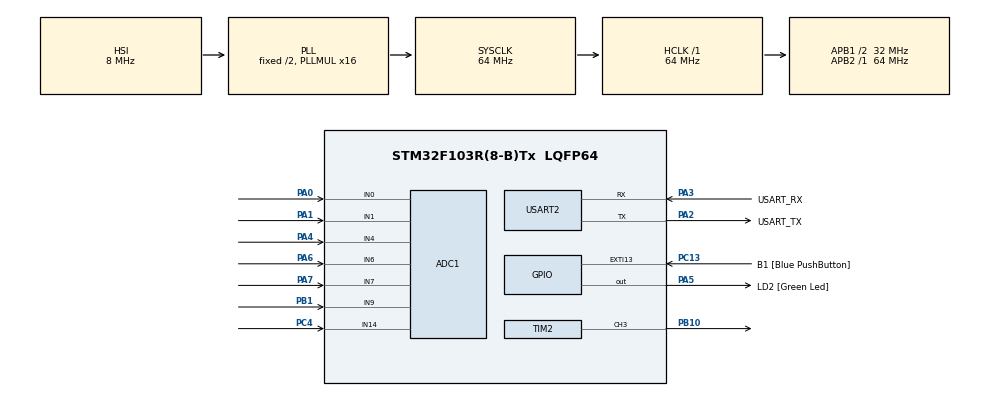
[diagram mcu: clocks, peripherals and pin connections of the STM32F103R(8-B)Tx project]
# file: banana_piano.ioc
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ADC1.Channel-10\#ChannelRegularConversion=ADC_CHANNEL_7
ADC1.Channel-11\#ChannelRegularConversion=ADC_CHANNEL_9
ADC1.Channel-12\#ChannelRegularConversion=ADC_CHANNEL_14
ADC1.Channel-6\#ChannelRegularConversion=ADC_CHANNEL_0
ADC1.Channel-7\#ChannelRegularConversion=ADC_CHANNEL_1
ADC1.Channel-8\#ChannelRegularConversion=ADC_CHANNEL_4
ADC1.Channel-9\#ChannelRegularConversion=ADC_CHANNEL_6
ADC1.ContinuousConvMode=ENABLE
ADC1.NbrOfConversion=7
ADC1.NbrOfConversionFlag=1
ADC1.Rank-10\#ChannelRegularConversion=5
ADC1.Rank-11\#ChannelRegularConversion=6
ADC1.Rank-12\#ChannelRegularConversion=7
ADC1.Rank-6\#ChannelRegularConversion=1
ADC1.Rank-7\#ChannelRegularConversion=2
ADC1.Rank-8\#ChannelRegularConversion=3
ADC1.Rank-9\#ChannelRegularConversion=4
ADC1.SamplingTime-10\#ChannelRegularConversion=ADC_SAMPLETIME_1CYCLE_5
ADC1.SamplingTime-11\#ChannelRegularConversion=ADC_SAMPLETIME_1CYCLE_5
ADC1.SamplingTime-12\#ChannelRegularConversion=ADC_SAMPLETIME_1CYCLE_5
ADC1.SamplingTime-6\#ChannelRegularConversion=ADC_SAMPLETIME_1CYCLE_5
ADC1.SamplingTime-7\#ChannelRegularConversion=ADC_SAMPLETIME_1CYCLE_5
ADC1.SamplingTime-8\#ChannelRegularConversion=ADC_SAMPLETIME_1CYCLE_5
ADC1.SamplingTime-9\#ChannelRegularConversion=ADC_SAMPLETIME_1CYCLE_5
ADC1.master=1
Dma.ADC1.0.Direction=DMA_PERIPH_TO_MEMORY
Dma.ADC1.0.Instance=DMA1_Channel1
Dma.ADC1.0.MemDataAlignment=DMA_MDATAALIGN_HALFWORD
Dma.ADC1.0.MemInc=DMA_MINC_ENABLE
Dma.ADC1.0.Mode=DMA_CIRCULAR
Dma.ADC1.0.PeriphDataAlignment=DMA_PDATAALIGN_HALFWORD
Dma.ADC1.0.PeriphInc=DMA_PINC_DISABLE
Dma.ADC1.0.Priority=DMA_PRIORITY_LOW
Dma.Request0=ADC1
Mcu.Family=STM32F1
Mcu.Name=STM32F103R(8-B)Tx
Mcu.Package=LQFP64
NVIC.DMA1_Channel1_IRQn=true\:0\:0\:false\:false\:true\:false\:true\:true
NVIC.EXTI15_10_IRQn=true\:0\:0\:false\:false\:true\:true\:true\:true
NVIC.PriorityGroup=NVIC_PRIORITYGROUP_4
PA0-WKUP.Signal=ADCx_IN0
PA1.Signal=ADCx_IN1
PA13.GPIO_Label=TMS
PA13.Mode=Serial_Wire
PA13.Signal=SYS_JTMS-SWDIO
PA14.GPIO_Label=TCK
PA14.Mode=Serial_Wire
PA14.Signal=SYS_JTCK-SWCLK
PA2.GPIO_Label=USART_TX
PA2.GPIO_Mode=GPIO_MODE_AF_PP
PA2.GPIO_PuPd=GPIO_NOPULL
PA2.GPIO_Speed=GPIO_SPEED_FREQ_LOW
PA2.Mode=Asynchronous
PA2.Signal=USART2_TX
PA3.GPIO_Label=USART_RX
PA3.GPIO_Mode=GPIO_MODE_AF_PP
PA3.GPIO_PuPd=GPIO_NOPULL
PA3.GPIO_Speed=GPIO_SPEED_FREQ_LOW
PA3.Mode=Asynchronous
PA3.Signal=USART2_RX
PA4.Signal=ADCx_IN4
PA5.GPIO_Label=LD2 [Green Led]
PA5.GPIO_ModeDefaultOutputPP=GPIO_MODE_OUTPUT_PP
PA5.GPIO_PuPd=GPIO_NOPULL
PA5.GPIO_Speed=GPIO_SPEED_FREQ_LOW
PA5.Signal=GPIO_Output
PA6.Signal=ADCx_IN6
PA7.Signal=ADCx_IN7
PB1.Signal=ADCx_IN9
PB10.Signal=S_TIM2_CH3
PB3.GPIO_Label=SWO
PB3.Signal=SYS_JTDO-TRACESWO
PC13-TAMPER-RTC.GPIO_Label=B1 [Blue PushButton]
PC13-TAMPER-RTC.GPIO_ModeDefaultEXTI=GPIO_MODE_IT_FALLING
PC13-TAMPER-RTC.GPIO_PuPd=GPIO_PULLUP
PC13-TAMPER-RTC.Signal=GPXTI13
PC14-OSC32_IN.Mode=LSE-External-Oscillator
PC14-OSC32_IN.Signal=RCC_OSC32_IN
PC15-OSC32_OUT.Mode=LSE-External-Oscillator
PC15-OSC32_OUT.Signal=RCC_OSC32_OUT
PC4.Signal=ADCx_IN14
PD0-OSC_IN.Mode=HSE-External-Clock-Source
PD0-OSC_IN.Signal=RCC_OSC_IN
PD1-OSC_OUT.Mode=HSE-External-Clock-Source
PD1-OSC_OUT.Signal=RCC_OSC_OUT
ProjectManager.HeapSize=0x200
ProjectManager.StackSize=0x400
ProjectManager.TargetToolchain=STM32CubeIDE
RCC.ADCPresc=RCC_ADCPCLK2_DIV8
RCC.AHBFreq_Value=64000000
RCC.APB1CLKDivider=RCC_HCLK_DIV2
RCC.APB1Freq_Value=32000000
RCC.APB1TimFreq_Value=64000000
RCC.APB2Freq_Value=64000000
RCC.APB2TimFreq_Value=64000000
RCC.HCLKFreq_Value=64000000
RCC.PLLMUL=RCC_PLL_MUL16
RCC.RTCClockSelection=RCC_RTCCLKSOURCE_LSE
RCC.SYSCLKFreq_VALUE=64000000
RCC.SYSCLKSource=RCC_SYSCLKSOURCE_PLLCLK
RCC.USBFreq_Value=64000000
SH.ADCx_IN0.0=ADC1_IN0,IN0
SH.ADCx_IN1.0=ADC1_IN1,IN1
SH.ADCx_IN14.0=ADC1_IN14,IN14
SH.ADCx_IN4.0=ADC1_IN4,IN4
SH.ADCx_IN6.0=ADC1_IN6,IN6
SH.ADCx_IN7.0=ADC1_IN7,IN7
SH.ADCx_IN9.0=ADC1_IN9,IN9
SH.S_TIM2_CH3.0=TIM2_CH3,PWM Generation3 CH3
TIM2.Channel-PWM\ Generation3\ CH3=TIM_CHANNEL_3
TIM2.Period=119-1
TIM2.Prescaler=1024-1
TIM2.Pulse-PWM\ Generation3\ CH3=59
USART2.VirtualMode=VM_ASYNC
VP_TIM2_VS_ClockSourceINT.Mode=Internal
board=NUCLEO-F103RB

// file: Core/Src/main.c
/* USER CODE BEGIN Header */
/**
  ******************************************************************************
  * @file           : main.c
  * @brief          : Main program body
  ******************************************************************************
  * @attention
  *
  * Copyright (c) 2024 STMicroelectronics.
  * All rights reserved.
  *
  * This software is licensed under terms that can be found in the LICENSE file
  * in the root directory of this software component.
  * If no LICENSE file comes with this software, it is provided AS-IS.
  *
  ******************************************************************************
  */
/* USER CODE END Header */
#include "main.h"

/* USER CODE BEGIN Includes */
#include <stdio.h>
/* USER CODE END Includes */

/* USER CODE BEGIN PTD */
typedef struct {
	const char name[4];        /** Name of the Note to be played*/
	uint32_t period;           /** Period of the note (and so the frequency*/
	uint16_t *fruit;           /** DMA destination Address for ADC data*/
	uint16_t size;             /** Data size in Half-Word*/
} note_t ;
/* USER CODE END PTD */

/* USER CODE BEGIN PD */
#define CONTACT_THRESHOLD    (0x750)
#define NB_NOTES                (7u) // 7 channels x 16 bits
/* USER CODE END PD */

ADC_HandleTypeDef hadc1;
DMA_HandleTypeDef hdma_adc1;

TIM_HandleTypeDef htim2;

UART_HandleTypeDef huart2;

/* USER CODE BEGIN PV */
uint32_t result[NB_NOTES];
volatile uint8_t key_found = 0;
/* USER CODE END PV */

void SystemClock_Config(void);
static void MX_GPIO_Init(void);
static void MX_DMA_Init(void);
static void MX_USART2_UART_Init(void);
static void MX_TIM2_Init(void);
static void MX_ADC1_Init(void);
/* USER CODE BEGIN PFP */
static void init_result(uint32_t * buffer, uint32_t size);
/* USER CODE END PFP */

/* USER CODE BEGIN 0 */
void HAL_GPIO_EXTI_Callback(uint16_t GPIO_Pin)
{
	// If "on state"
	if((GPIOA->ODR & GPIO_PIN_5) == GPIO_PIN_5)
	{
		// Light off, PWM off, ADC off
		GPIOA->BSRR = GPIO_PIN_5 << 16;
		HAL_TIM_PWM_Stop(&htim2, TIM_CHANNEL_3);
		HAL_ADC_Stop_DMA(&hadc1);
	}
	// If "off state"
	else
	{
		// Light on, PWM on, ADC on
		GPIOA->BSRR = GPIO_PIN_5;
		HAL_TIM_PWM_Start(&htim2, TIM_CHANNEL_3);
		HAL_ADC_Start_DMA(&hadc1, result, sizeof(result));
	}
}

/**
 * @brief This function Start the Tone.
 */
__STATIC_INLINE void Start_Tone(void)
{
	uint16_t read_ccer;

    read_ccer = TIM2->CCER;
    read_ccer |= (TIM_CCER_CC3E);
    TIM2->CCER = read_ccer;
}

/**
 * @brief This function Stop the Tone.
 */
__STATIC_INLINE void Stop_Tone(void)
{
	uint32_t read_ccer;

    read_ccer = TIM2->CCER;
    read_ccer &= ~(TIM_CCER_CC3E);
    TIM2->CCER = read_ccer;
}

/* USER CODE END 0 */

int main(void)
{
  /* USER CODE BEGIN 1 */
  init_result(result, NB_NOTES);

  uint16_t tmp;

  note_t notes[] = {
		  {"DO", (119-1), (uint16_t*)result, 1},
		  {"RE", (106-1), (uint16_t*)result+1, 1},
		  {"MI", (94-1), (uint16_t*)result+2, 1},
		  {"FA", (89-1), (uint16_t*)result+3, 1},
		  {"SOL", (80-1), (uint16_t*)result+4, 1},
		  {"LA", (71-1), (uint16_t*)result+5, 1},
		  {"SI", (63-1), (uint16_t*)result+6, 1}
  };
  /* USER CODE END 1 */

  /* MCU Configuration--------------------------------------------------------*/

  /* Reset of all peripherals, Initializes the Flash interface and the Systick. */
  HAL_Init();

  /* Configure the system clock */
  SystemClock_Config();

  /* Initialize all configured peripherals */
  MX_GPIO_Init();
  MX_DMA_Init();
  MX_USART2_UART_Init();
  MX_TIM2_Init();
  MX_ADC1_Init();
  /* USER CODE BEGIN 2 */
  printf("Coucou Hibou\n");
  /* USER CODE END 2 */

  /* Infinite loop */
  /* USER CODE BEGIN WHILE */
  while (1)
  {
    // Reset Flag
    key_found = 0;

    for (uint32_t i = 0; i < NB_NOTES; i++)
    {
        tmp = *(notes[i].fruit);

        if (tmp < CONTACT_THRESHOLD) // Si on actionne un fruit (une note ^^)
        {
            // Set PWM as square signal
            TIM2->ARR = notes[i].period;
            TIM2->CCR1 = notes[i].period / 2;
            Start_Tone();

            //printf("%s\n", notes[i].name);
            key_found = 1;
            break;
        }
    }
    if (!key_found)
    {
        Stop_Tone();
    }

	for (uint32_t i = 0 ; i < 1000; i++);
    /* USER CODE END WHILE */

  }
}

void SystemClock_Config(void)
{
  RCC_OscInitTypeDef RCC_OscInitStruct = {0};
  RCC_ClkInitTypeDef RCC_ClkInitStruct = {0};
  RCC_PeriphCLKInitTypeDef PeriphClkInit = {0};

  /** Initializes the RCC Oscillators according to the specified parameters
  * in the RCC_OscInitTypeDef structure.
  */
  RCC_OscInitStruct.OscillatorType = RCC_OSCILLATORTYPE_HSI;
  RCC_OscInitStruct.HSIState = RCC_HSI_ON;
  RCC_OscInitStruct.HSICalibrationValue = RCC_HSICALIBRATION_DEFAULT;
  RCC_OscInitStruct.PLL.PLLState = RCC_PLL_ON;
  RCC_OscInitStruct.PLL.PLLSource = RCC_PLLSOURCE_HSI_DIV2;
  RCC_OscInitStruct.PLL.PLLMUL = RCC_PLL_MUL16;
  if (HAL_RCC_OscConfig(&RCC_OscInitStruct) != HAL_OK)
  {
    Error_Handler();
  }

  /** Initializes the CPU, AHB and APB buses clocks
  */
  RCC_ClkInitStruct.ClockType = RCC_CLOCKTYPE_HCLK|RCC_CLOCKTYPE_SYSCLK
                              |RCC_CLOCKTYPE_PCLK1|RCC_CLOCKTYPE_PCLK2;
  RCC_ClkInitStruct.SYSCLKSource = RCC_SYSCLKSOURCE_PLLCLK;
  RCC_ClkInitStruct.AHBCLKDivider = RCC_SYSCLK_DIV1;
  RCC_ClkInitStruct.APB1CLKDivider = RCC_HCLK_DIV2;
  RCC_ClkInitStruct.APB2CLKDivider = RCC_HCLK_DIV1;

  if (HAL_RCC_ClockConfig(&RCC_ClkInitStruct, FLASH_LATENCY_2) != HAL_OK)
  {
    Error_Handler();
  }
  PeriphClkInit.PeriphClockSelection = RCC_PERIPHCLK_ADC;
  PeriphClkInit.AdcClockSelection = RCC_ADCPCLK2_DIV8;
  if (HAL_RCCEx_PeriphCLKConfig(&PeriphClkInit) != HAL_OK)
  {
    Error_Handler();
  }
}

static void MX_ADC1_Init(void)
{

  ADC_ChannelConfTypeDef sConfig = {0};

  /** Common config
  */
  hadc1.Instance = ADC1;
  hadc1.Init.ScanConvMode = ADC_SCAN_ENABLE;
  hadc1.Init.ContinuousConvMode = ENABLE;
  hadc1.Init.DiscontinuousConvMode = DISABLE;
  hadc1.Init.ExternalTrigConv = ADC_SOFTWARE_START;
  hadc1.Init.DataAlign = ADC_DATAALIGN_RIGHT;
  hadc1.Init.NbrOfConversion = 7;
  if (HAL_ADC_Init(&hadc1) != HAL_OK)
  {
    Error_Handler();
  }

  /** Configure Regular Channel
  */
  sConfig.Channel = ADC_CHANNEL_0;
  sConfig.Rank = ADC_REGULAR_RANK_1;
  sConfig.SamplingTime = ADC_SAMPLETIME_1CYCLE_5;
  if (HAL_ADC_ConfigChannel(&hadc1, &sConfig) != HAL_OK)
  {
    Error_Handler();
  }

  /** Configure Regular Channel
  */
  sConfig.Channel = ADC_CHANNEL_1;
  sConfig.Rank = ADC_REGULAR_RANK_2;
  if (HAL_ADC_ConfigChannel(&hadc1, &sConfig) != HAL_OK)
  {
    Error_Handler();
  }

  /** Configure Regular Channel
  */
  sConfig.Channel = ADC_CHANNEL_4;
  sConfig.Rank = ADC_REGULAR_RANK_3;
  if (HAL_ADC_ConfigChannel(&hadc1, &sConfig) != HAL_OK)
  {
    Error_Handler();
  }

  /** Configure Regular Channel
  */
  sConfig.Channel = ADC_CHANNEL_6;
  sConfig.Rank = ADC_REGULAR_RANK_4;
  if (HAL_ADC_ConfigChannel(&hadc1, &sConfig) != HAL_OK)
  {
    Error_Handler();
  }

  /** Configure Regular Channel
  */
  sConfig.Channel = ADC_CHANNEL_7;
  sConfig.Rank = ADC_REGULAR_RANK_5;
  if (HAL_ADC_ConfigChannel(&hadc1, &sConfig) != HAL_OK)
  {
    Error_Handler();
  }

  /** Configure Regular Channel
  */
  sConfig.Channel = ADC_CHANNEL_9;
  sConfig.Rank = ADC_REGULAR_RANK_6;
  if (HAL_ADC_ConfigChannel(&hadc1, &sConfig) != HAL_OK)
  {
    Error_Handler();
  }

  /** Configure Regular Channel
  */
  sConfig.Channel = ADC_CHANNEL_14;
  sConfig.Rank = ADC_REGULAR_RANK_7;
  if (HAL_ADC_ConfigChannel(&hadc1, &sConfig) != HAL_OK)
  {
    Error_Handler();
  }

}

static void MX_TIM2_Init(void)
{

  TIM_ClockConfigTypeDef sClockSourceConfig = {0};
  TIM_MasterConfigTypeDef sMasterConfig = {0};
  TIM_OC_InitTypeDef sConfigOC = {0};

  htim2.Instance = TIM2;
  htim2.Init.Prescaler = 1024-1;
  htim2.Init.CounterMode = TIM_COUNTERMODE_UP;
  htim2.Init.Period = 119-1;
  htim2.Init.ClockDivision = TIM_CLOCKDIVISION_DIV1;
  htim2.Init.AutoReloadPreload = TIM_AUTORELOAD_PRELOAD_DISABLE;
  if (HAL_TIM_Base_Init(&htim2) != HAL_OK)
  {
    Error_Handler();
  }
  sClockSourceConfig.ClockSource = TIM_CLOCKSOURCE_INTERNAL;
  if (HAL_TIM_ConfigClockSource(&htim2, &sClockSourceConfig) != HAL_OK)
  {
    Error_Handler();
  }
  if (HAL_TIM_PWM_Init(&htim2) != HAL_OK)
  {
    Error_Handler();
  }
  sMasterConfig.MasterOutputTrigger = TIM_TRGO_RESET;
  sMasterConfig.MasterSlaveMode = TIM_MASTERSLAVEMODE_DISABLE;
  if (HAL_TIMEx_MasterConfigSynchronization(&htim2, &sMasterConfig) != HAL_OK)
  {
    Error_Handler();
  }
  sConfigOC.OCMode = TIM_OCMODE_PWM1;
  sConfigOC.Pulse = 59;
  sConfigOC.OCPolarity = TIM_OCPOLARITY_HIGH;
  sConfigOC.OCFastMode = TIM_OCFAST_DISABLE;
  if (HAL_TIM_PWM_ConfigChannel(&htim2, &sConfigOC, TIM_CHANNEL_3) != HAL_OK)
  {
    Error_Handler();
  }
  HAL_TIM_MspPostInit(&htim2);

}

static void MX_USART2_UART_Init(void)
{

  huart2.Instance = USART2;
  huart2.Init.BaudRate = 115200;
  huart2.Init.WordLength = UART_WORDLENGTH_8B;
  huart2.Init.StopBits = UART_STOPBITS_1;
  huart2.Init.Parity = UART_PARITY_NONE;
  huart2.Init.Mode = UART_MODE_TX_RX;
  huart2.Init.HwFlowCtl = UART_HWCONTROL_NONE;
  huart2.Init.OverSampling = UART_OVERSAMPLING_16;
  if (HAL_UART_Init(&huart2) != HAL_OK)
  {
    Error_Handler();
  }

}

static void MX_DMA_Init(void)
{

  /* DMA controller clock enable */
  __HAL_RCC_DMA1_CLK_ENABLE();

  /* DMA interrupt init */
  /* DMA1_Channel1_IRQn interrupt configuration */
  HAL_NVIC_SetPriority(DMA1_Channel1_IRQn, 0, 0);
  HAL_NVIC_EnableIRQ(DMA1_Channel1_IRQn);

}

static void MX_GPIO_Init(void)
{
  GPIO_InitTypeDef GPIO_InitStruct = {0};

  /* GPIO Ports Clock Enable */
  __HAL_RCC_GPIOC_CLK_ENABLE();
  __HAL_RCC_GPIOD_CLK_ENABLE();
  __HAL_RCC_GPIOA_CLK_ENABLE();
  __HAL_RCC_GPIOB_CLK_ENABLE();

  /*Configure GPIO pin Output Level */
  HAL_GPIO_WritePin(LD2_GPIO_Port, LD2_Pin, GPIO_PIN_RESET);

  /*Configure GPIO pin : B1_Pin */
  GPIO_InitStruct.Pin = B1_Pin;
  GPIO_InitStruct.Mode = GPIO_MODE_IT_FALLING;
  GPIO_InitStruct.Pull = GPIO_PULLUP;
  HAL_GPIO_Init(B1_GPIO_Port, &GPIO_InitStruct);

  /*Configure GPIO pin : LD2_Pin */
  GPIO_InitStruct.Pin = LD2_Pin;
  GPIO_InitStruct.Mode = GPIO_MODE_OUTPUT_PP;
  GPIO_InitStruct.Pull = GPIO_NOPULL;
  GPIO_InitStruct.Speed = GPIO_SPEED_FREQ_LOW;
  HAL_GPIO_Init(LD2_GPIO_Port, &GPIO_InitStruct);

  /* EXTI interrupt init*/
  HAL_NVIC_SetPriority(EXTI15_10_IRQn, 0, 0);
  HAL_NVIC_EnableIRQ(EXTI15_10_IRQn);

}

/* USER CODE BEGIN 4 */
/**
 * @brief Retarget printf to UART2
 * @param ch: character to be printed
 * @retval character printed
*/
int __io_putchar(int ch)
{
	uint8_t c[1];
	c[0] = ch & 0xFF;

	HAL_UART_Transmit(&huart2, &c[0], 1, 10);

	return ch;
}

/**
 * @brief Initialize the result buffer
 * @param buffer: pointer to the buffer
 * @param size: size of the buffer
*/
static void init_result(uint32_t * buffer, uint32_t size)
{
	for (uint32_t i = 0; i < size; i++)
	{
		buffer[i] = 0x800;
	}
}
/* USER CODE END 4 */

void Error_Handler(void)
{
  __disable_irq();
  while (1)
  {
  }
}
